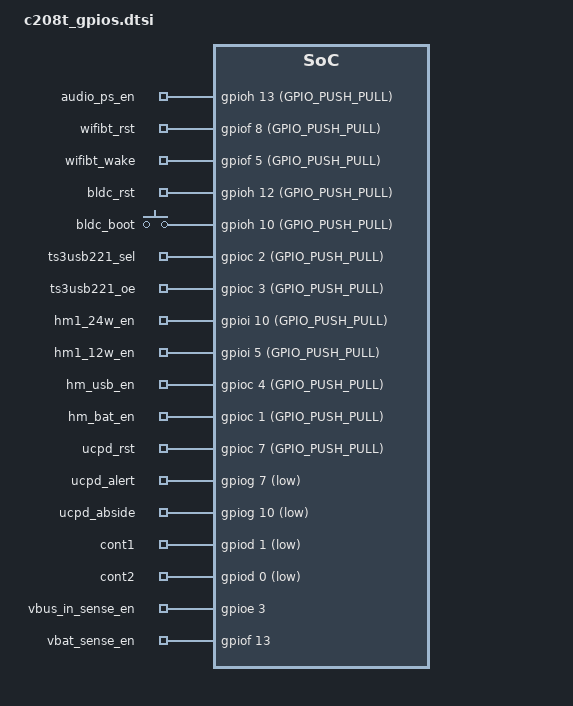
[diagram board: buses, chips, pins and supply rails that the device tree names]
/*
 * Copyright (c) 2024 Acme CPU
 * 
 * GPIO device list
 *  - audio ps enable
 * 	- network processor (esp32) reset and wakeup
 *  - bldc driver reset and boot
 *  - usb mux (TS3USB221ERSER)
 *  - heater
 *	- USB PD (device)
 * 	- other gpios
 */
 
 / {
 	aux_enable {
		compatible = "gpio-keys";

	    audio_ps_en: audio_ps_en {
	      gpios = <&gpioh 13 (GPIO_PUSH_PULL)>;
	    };
	};
	
	net_proc_gpios {
		compatible = "gpio-keys";
		
	    wifibt_rst: wifibt_rst {
	      gpios = <&gpiof 8 (GPIO_PUSH_PULL)>;
	    };
	    
	    wifibt_wake: wifibt_wake {
	      gpios = <&gpiof 5 (GPIO_PUSH_PULL)>;
	    };
	};
	
	bldc_drv_gpios {
		compatible = "gpio-keys";
		
	    bldc_rst: bldc_rst {
	      gpios = <&gpioh 12 (GPIO_PUSH_PULL)>;
	    };
	    
	    bldc_boot: bldc_boot {
	      gpios = <&gpioh 10 (GPIO_PUSH_PULL)>;
	    };
	};

	i2c_switch_gpios {
		compatible = "gpio-keys";

	    ts3usb221_sel: ts3usb221_sel {
	      gpios = <&gpioc 2 (GPIO_PUSH_PULL)>;
	    };

	    ts3usb221_oe: ts3usb221_oe {
	      gpios = <&gpioc 3 (GPIO_PUSH_PULL)>;
	    };
	};
	
	heating_module_gpios {
		compatible = "gpio-keys";
		
	    hm1_24w_en: hm1_24w_en {
	      gpios = <&gpioi 10 (GPIO_PUSH_PULL)>;
	    };

	    hm1_12w_en: hm1_12w_en {
	      gpios = <&gpioi 5 (GPIO_PUSH_PULL)>;
	    };		
	    
	    hm_usb_en: hm_usb_en {
	      gpios = <&gpioc 4 (GPIO_PUSH_PULL)>;
	    };

	    hm_bat_en: hm_bat_en {
	      gpios = <&gpioc 1 (GPIO_PUSH_PULL)>;
	    };	
	};
	
	ucpd_ctrl_gpios {	/* use if i2c driver is not available */
		compatible = "gpio-keys";
		
	    ucpd_rst: ucpd_rst {
	      gpios = <&gpioc 7 (GPIO_PUSH_PULL)>;
	    };

	    ucpd_alert: ucpd_alert {
	      gpios = <&gpiog 7 (GPIO_PULL_UP | GPIO_ACTIVE_LOW)>;
	    };		

	    ucpd_abside: ucpd_abside {
	      gpios = <&gpiog 10 (GPIO_PULL_UP | GPIO_ACTIVE_LOW)>;
	    };		
	};

	other_gpios {
		compatible = "gpio-keys";

	    cont1: cont1 {
	      gpios = <&gpiod 1 (GPIO_PULL_UP | GPIO_ACTIVE_LOW)>;
	    };
	    
	    cont2: cont2 {
	      gpios = <&gpiod 0 (GPIO_PULL_UP | GPIO_ACTIVE_LOW)>;
	    };
	    
	    vbus_in_sense_en: vbus_in_sense_en {
	      gpios = <&gpioe 3 GPIO_ACTIVE_HIGH>;
	    };

	    vbat_sense_en: vbat_sense_en {
	      gpios = <&gpiof 13 GPIO_ACTIVE_HIGH>;
	    };
	};
};



